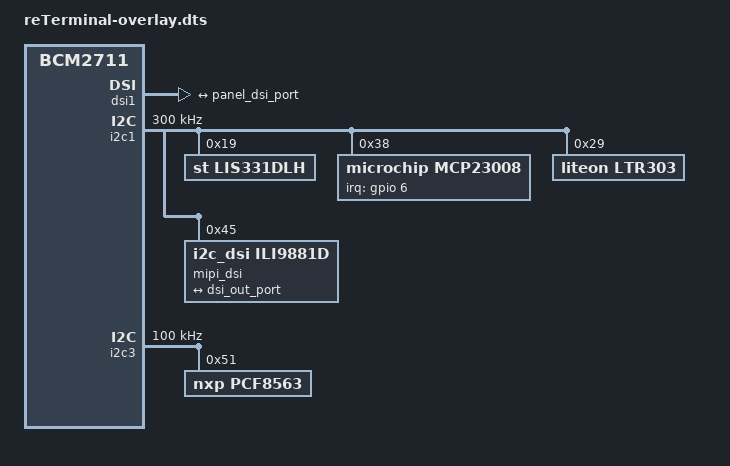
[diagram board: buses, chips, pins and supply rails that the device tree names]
/*
 * Copyright (C) 2021 Seeed Studio
 * Zhangqun Ming <north_sea@qq.com>
 *
 * MIT License
 *
 */
/dts-v1/;
/plugin/;

/ {
    compatible = "brcm,bcm2835", "brcm,bcm2708", "brcm,bcm2709", "brcm,bcm2711";

    fragment@0 {
        target-path="/";
        __overlay__ {
            hardware = "reTerminal V1.9";
        };
    };

	fragment@1 {
		target = <&dsi1>;
		__overlay__ {
			#address-cells = <1>;
			#size-cells = <0>;
			status = "okay";

			port {
				dsi_out_port: endpoint {
					remote-endpoint = <&panel_dsi_port>;
				};
			};
		};
	};
	
	fragment@2 {
		target = <&gpio>;
		__overlay__ {
			power_key: power_key {
				brcm,pins = <13>;    /* gpio number */
				brcm,function = <0>; /* 0 = input, 1 = output */
				brcm,pull = <2>;     /* 0 = none, 1 = pull down, 2 = pull up */
			};

			mcp23008_pins: mcp23008_pins@20 {
				brcm,pins = <6>;     /* gpio number */
				brcm,function = <0>; /* 0 = input, 1 = output */
				brcm,pull = <2>;     /* 0 = none, 1 = pull down, 2 = pull up */
			};
		};
	};

	fragment@3 {
		target = <&mcp23008>;
		mcp23008_irq: __overlay__ {
			#interrupt-cells=<2>;
			interrupt-parent = <&gpio>;
			interrupts = <6 2>; /* IRQ_TYPE_EDGE_FALLING */
			interrupt-controller;
			microchip,irq-mirror;
		};
	};

	fragment@4 {
		target = <&i2c1>;
		__overlay__ {
			status = "okay";

			/* this is the configuration part */
			clock-frequency = <300000>;

			#address-cells = <1>;
			#size-cells = <0>;
			
			lis331dlh@19 {
				compatible = "st,lis331dlh";
				reg = <0x19>;
				status = "okay";
			};
			
			mcp23008: mcp@20 {
				compatible = "microchip,mcp23008","nxp,pca9554";
				reg = <0x38>;
				status = "okay";

				gpio-controller;
				#gpio-cells = <2>;

				input_pins: pinmux {
					pins =
						"gpio0",
						"gpio1",
						"gpio2",
						"gpio3";
					bias-pull-up;
				};
			};

			ltr303@29 {
				compatible = "liteon,ltr303";
				reg = <0x29>;
				status = "okay";
			};
			
			mipi_dsi: mipi_dsi@45 {
				compatible = "i2c_dsi,ili9881d";
				reg = <0x45>;
				
				mcu_auto_reset_enable = <0>;
				tp_point_rotate = <0>;

				port {
					panel_dsi_port: endpoint {
						remote-endpoint = <&dsi_out_port>;
					};
				};
			};
		};
	};

	fragment@5 {
		target = <&i2c3>;
		__overlay__ {
			status = "okay";

			/* this is the configuration part */
			clock-frequency = <100000>;

			#address-cells = <1>;
			#size-cells = <0>;
			
			pcf8563@51 {
				compatible = "nxp,pcf8563";
				reg = <0x51>;
			};
		};
	};
	
	fragment@6 {
		target = <&gpio_keys>;
		patch:__overlay__ {
			pinctrl-0 = <>;
		};
	}; 

	__overrides__ {
		int = <&mcp23008_pins>,"brcm,pins:0",
				<&mcp23008_irq>,"interrupts:0";
		addr = <&mcp23008>,"reg:0", 
				<&mcp23008_pins>,"reg:0";
		noints = <0>,"!1!2";

		mcu_auto_reset = <&mipi_dsi>,"mcu_auto_reset_enable:0";
		tp_rotate = <&mipi_dsi>,"tp_point_rotate:0";
		mcp23008 = <&patch>,"pinctrl-0:0=",<&input_pins>;
	};
};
